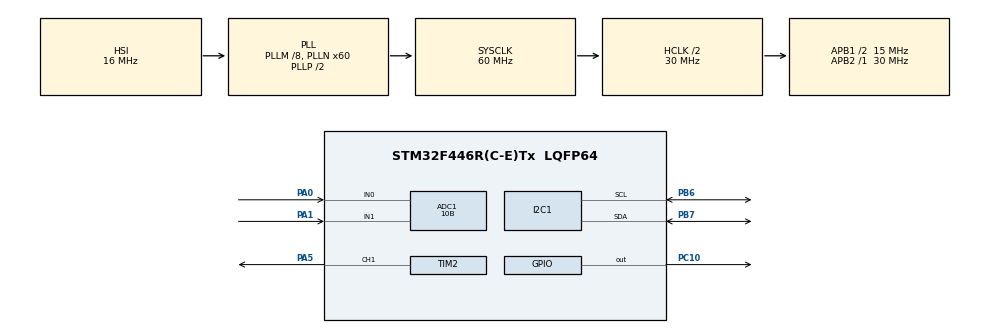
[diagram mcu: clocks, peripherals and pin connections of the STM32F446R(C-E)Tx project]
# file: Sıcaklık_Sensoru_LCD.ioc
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ADC1.Channel-0\#ChannelRegularConversion=ADC_CHANNEL_0
ADC1.Channel-1\#ChannelRegularConversion=ADC_CHANNEL_1
ADC1.ContinuousConvMode=ENABLE
ADC1.NbrOfConversion=2
ADC1.NbrOfConversionFlag=1
ADC1.Rank-0\#ChannelRegularConversion=1
ADC1.Rank-1\#ChannelRegularConversion=2
ADC1.Resolution=ADC_RESOLUTION_10B
ADC1.SamplingTime-0\#ChannelRegularConversion=ADC_SAMPLETIME_144CYCLES
ADC1.SamplingTime-1\#ChannelRegularConversion=ADC_SAMPLETIME_144CYCLES
ADC1.ScanConvMode=ENABLE
ADC1.master=1
Mcu.Family=STM32F4
Mcu.Name=STM32F446R(C-E)Tx
Mcu.Package=LQFP64
NVIC.ADC_IRQn=true\:0\:0\:false\:false\:true\:true\:true
NVIC.PriorityGroup=NVIC_PRIORITYGROUP_0
NVIC.TIM3_IRQn=true\:0\:0\:false\:false\:true\:true\:true
PA0-WKUP.Signal=ADCx_IN0
PA1.Signal=ADCx_IN1
PA5.Signal=S_TIM2_CH1_ETR
PB6.Mode=I2C
PB6.Signal=I2C1_SCL
PB7.Mode=I2C
PB7.Signal=I2C1_SDA
PC10.Signal=GPIO_Output
PH0-OSC_IN.Mode=HSE-External-Oscillator
PH0-OSC_IN.Signal=RCC_OSC_IN
PH1-OSC_OUT.Mode=HSE-External-Oscillator
PH1-OSC_OUT.Signal=RCC_OSC_OUT
ProjectManager.HeapSize=0x200
ProjectManager.StackSize=0x400
ProjectManager.TargetToolchain=STM32CubeIDE
RCC.48MHZClocksFreq_Value=84000000
RCC.AHBCLKDivider=RCC_SYSCLK_DIV2
RCC.AHBFreq_Value=30000000
RCC.APB1CLKDivider=RCC_HCLK_DIV2
RCC.APB1Freq_Value=15000000
RCC.APB1TimFreq_Value=30000000
RCC.APB2Freq_Value=30000000
RCC.APB2TimFreq_Value=30000000
RCC.CortexFreq_Value=30000000
RCC.FLatency-AdvancedSettings=FLASH_LATENCY_0
RCC.HCLKFreq_Value=30000000
RCC.HSE_VALUE=8000000
RCC.HSI_VALUE=16000000
RCC.PLLM=8
RCC.PLLN=60
RCC.SYSCLKFreq_VALUE=60000000
RCC.SYSCLKSource=RCC_SYSCLKSOURCE_PLLCLK
RCC.USBFreq_Value=60000000
RCC.VCOOutputFreq_Value=120000000
SH.ADCx_IN0.0=ADC1_IN0,IN0
SH.ADCx_IN1.0=ADC1_IN1,IN1
SH.S_TIM2_CH1_ETR.0=TIM2_CH1,PWM Generation1 CH1
TIM2.Channel-PWM\ Generation1\ CH1=TIM_CHANNEL_1
TIM2.Period=1000-1
TIM2.Prescaler=600-1
TIM3.Period=5000-1
TIM3.Prescaler=6000-1
VP_TIM2_VS_ClockSourceINT.Mode=Internal
VP_TIM3_VS_ClockSourceINT.Mode=Internal
board=NUCLEO-F446RE

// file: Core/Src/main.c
/* USER CODE BEGIN Header */
/**
  ******************************************************************************
  * @file           : main.c
  * @brief          : Main program body
  ******************************************************************************
  * @attention
  *
  * <h2><center>&copy; Copyright (c) 2021 STMicroelectronics.
  * All rights reserved.</center></h2>
  *
  * This software component is licensed by ST under BSD 3-Clause license,
  * the "License"; You may not use this file except in compliance with the
  * License. You may obtain a copy of the License at:
  *                        opensource.org/licenses/BSD-3-Clause
  *
  ******************************************************************************
  */
/* USER CODE END Header */
#include "main.h"

/* USER CODE BEGIN Includes */
#include <stdlib.h>
#include "string.h"
uint32_t duty=20;
uint32_t adcvalue[2];
uint32_t temp[2];
uint8_t count = 0;
uint8_t data1[12];
uint8_t data2[12];
uint8_t control = 0;
uint16_t sicaklikfarki = 0;
uint16_t sayac = 0;
/* USER CODE END Includes */

ADC_HandleTypeDef hadc1;

I2C_HandleTypeDef hi2c1;

TIM_HandleTypeDef htim2;
TIM_HandleTypeDef htim3;

void SystemClock_Config(void);
static void MX_GPIO_Init(void);
static void MX_TIM2_Init(void);
static void MX_ADC1_Init(void);
static void MX_I2C1_Init(void);
static void MX_TIM3_Init(void);

/* USER CODE BEGIN 0 */
void HAL_ADC_ConvCpltCallback(ADC_HandleTypeDef* hadc)
{

	/**************** ADC KESMESİ **************/

	// 1. Bu kısımda ilk olarak if döngüsü ile ADC çevriminin tamamlanıp tamamlanmadığını kontrol ediyoruz
	if(__HAL_ADC_GET_FLAG(&hadc1, ADC_FLAG_EOC) != RESET)
			{

		// 2. ADC1 üzerinden 2 kanaldan okunan 2 sensör adcvalue değişkeni içinde tutuluyor.
			// 3. Aynı ADC üzerinden okuma yapıldığı için değerler sırayla okunmaktadır.
			// 4. Tanımladığımız count değişkeni ilk olarak 0 değerindedir.
			// 5. Her ADC kanalı okunduğunda count değeri 1 artmaktadır ve adcvalue dizisinde okunan kanalı belirtmektedir.
			// 6. Biz iki kanal okuduğumuz için count değer 2 kez artar ve 2 değerine ulaştığında tekrar sıfırlanarak Kanal 1 değerinin okunmasını sağlamaktadır.
				adcvalue[count] = HAL_ADC_GetValue(&hadc1);
				count++;
				if(count == 2)
					count = 0;
			}

	// 7. ADC okuma işlemleri tamamlandıktan sonra sıcaklık değerleri temp dizisinde saklanmaktadır.
		// 8. ADC değerini bizim gerilimimiz olan 3.3V değeri yani 330 ile çarpıyoruz ve bunu ADC çözünürlüğüne böldüğümüzde bize sıcaklık değerini veriyor.
		temp[0]=(adcvalue[0]*330)/1024;
		temp[1]=(adcvalue[1]*330)/1024;
		sicaklikfarki = abs(temp[0] - temp[1]);
		// 9. Eğer sıcaklık farkı 5 dereceden fazlaysa servo motor atanan duty değeri ile çalışıyor ve pencere açılıyor. Ayrıca röle tetiklenerek fan çalıştırılıyor.

		if( (sicaklikfarki>= 5) && control == 0)
		{
			// Fan 10 saniye çalışıcak bu yüzden sıcaklık farkı 5'i geçtiğinde timer başlıyor.
//			HAL_TIM_Base_Start_IT(&htim3);
//			sayac = __HAL_TIM_GetCounter(&htim5);
			// Servo motor döndürülüyor
			htim2.Instance->CCR1 = 100;
			// Röle aktif ediliyor
			HAL_GPIO_WritePin(GPIOC, GPIO_PIN_10, GPIO_PIN_SET);
			// Bu döngünün tekrarlanmaması için bir kontrol değişkeni set ediliyor.
			control = 1;

		}
		// 10. Son olarak ölçülen değerler sprintf komutu ile data1 ve data2 içine LCD üzerine yazdırılmak için gömülüyor.
		sprintf(data1,"Sicaklik %d",temp[0]);
		sprintf(data2,"Sicaklik %d",temp[1]);

}
/* USER CODE END 0 */

int main(void)
{

  /* MCU Configuration--------------------------------------------------------*/

  /* Reset of all peripherals, Initializes the Flash interface and the Systick. */
  HAL_Init();

  /* Configure the system clock */
  SystemClock_Config();

  /* Initialize all configured peripherals */
  MX_GPIO_Init();
  MX_TIM2_Init();
  MX_ADC1_Init();
  MX_I2C1_Init();
  MX_TIM3_Init();
  /* USER CODE BEGIN 2 */
  HAL_ADC_Start_IT(&hadc1);
  HAL_TIM_PWM_Start(&htim2, TIM_CHANNEL_1);
  lcd_init();
  HAL_GPIO_WritePin(GPIOC, GPIO_PIN_10, GPIO_PIN_RESET);
  /* USER CODE END 2 */

  /* Infinite loop */
  while (1)
  {

    /* USER CODE BEGIN 3 */

	  // Döngü içinde 2 satırada bilgi yazdığımız için her yeni çevrimde ilk olarak kursör en başa getiriliyor
	  lcd_put_cur(0, 0);
	  HAL_Delay(50);
	  // data1 ve data2 içine gömdüğümüz sıcaklık değerleri lcd_send_string ile lcd üzerine basılıyor
	  lcd_send_string(data1);
	  HAL_Delay(50);
	  // data2 yani 2.sıcaklık sensörü 2. Lcd satırında yazması için kursör 2. satıra taşınıyor.
	  lcd_put_cur(1, 0);
	  HAL_Delay(50);
	  // data2 değeri lcd üzerine basılıyor.
	  lcd_send_string(data2);
	  HAL_Delay(50);
  }
  /* USER CODE END 3 */
}

void SystemClock_Config(void)
{
  RCC_OscInitTypeDef RCC_OscInitStruct = {0};
  RCC_ClkInitTypeDef RCC_ClkInitStruct = {0};

  /** Configure the main internal regulator output voltage
  */
  __HAL_RCC_PWR_CLK_ENABLE();
  __HAL_PWR_VOLTAGESCALING_CONFIG(PWR_REGULATOR_VOLTAGE_SCALE3);
  /** Initializes the RCC Oscillators according to the specified parameters
  * in the RCC_OscInitTypeDef structure.
  */
  RCC_OscInitStruct.OscillatorType = RCC_OSCILLATORTYPE_HSI;
  RCC_OscInitStruct.HSIState = RCC_HSI_ON;
  RCC_OscInitStruct.HSICalibrationValue = RCC_HSICALIBRATION_DEFAULT;
  RCC_OscInitStruct.PLL.PLLState = RCC_PLL_ON;
  RCC_OscInitStruct.PLL.PLLSource = RCC_PLLSOURCE_HSI;
  RCC_OscInitStruct.PLL.PLLM = 8;
  RCC_OscInitStruct.PLL.PLLN = 60;
  RCC_OscInitStruct.PLL.PLLP = RCC_PLLP_DIV2;
  RCC_OscInitStruct.PLL.PLLQ = 2;
  RCC_OscInitStruct.PLL.PLLR = 2;
  if (HAL_RCC_OscConfig(&RCC_OscInitStruct) != HAL_OK)
  {
    Error_Handler();
  }
  /** Initializes the CPU, AHB and APB buses clocks
  */
  RCC_ClkInitStruct.ClockType = RCC_CLOCKTYPE_HCLK|RCC_CLOCKTYPE_SYSCLK
                              |RCC_CLOCKTYPE_PCLK1|RCC_CLOCKTYPE_PCLK2;
  RCC_ClkInitStruct.SYSCLKSource = RCC_SYSCLKSOURCE_PLLCLK;
  RCC_ClkInitStruct.AHBCLKDivider = RCC_SYSCLK_DIV2;
  RCC_ClkInitStruct.APB1CLKDivider = RCC_HCLK_DIV2;
  RCC_ClkInitStruct.APB2CLKDivider = RCC_HCLK_DIV1;

  if (HAL_RCC_ClockConfig(&RCC_ClkInitStruct, FLASH_LATENCY_0) != HAL_OK)
  {
    Error_Handler();
  }
}

static void MX_ADC1_Init(void)
{

  ADC_ChannelConfTypeDef sConfig = {0};

  /** Configure the global features of the ADC (Clock, Resolution, Data Alignment and number of conversion)
  */
  hadc1.Instance = ADC1;
  hadc1.Init.ClockPrescaler = ADC_CLOCK_SYNC_PCLK_DIV2;
  hadc1.Init.Resolution = ADC_RESOLUTION_10B;
  hadc1.Init.ScanConvMode = ENABLE;
  hadc1.Init.ContinuousConvMode = ENABLE;
  hadc1.Init.DiscontinuousConvMode = DISABLE;
  hadc1.Init.ExternalTrigConvEdge = ADC_EXTERNALTRIGCONVEDGE_NONE;
  hadc1.Init.ExternalTrigConv = ADC_SOFTWARE_START;
  hadc1.Init.DataAlign = ADC_DATAALIGN_RIGHT;
  hadc1.Init.NbrOfConversion = 2;
  hadc1.Init.DMAContinuousRequests = DISABLE;
  hadc1.Init.EOCSelection = ADC_EOC_SINGLE_CONV;
  if (HAL_ADC_Init(&hadc1) != HAL_OK)
  {
    Error_Handler();
  }
  /** Configure for the selected ADC regular channel its corresponding rank in the sequencer and its sample time.
  */
  sConfig.Channel = ADC_CHANNEL_0;
  sConfig.Rank = 1;
  sConfig.SamplingTime = ADC_SAMPLETIME_144CYCLES;
  if (HAL_ADC_ConfigChannel(&hadc1, &sConfig) != HAL_OK)
  {
    Error_Handler();
  }
  /** Configure for the selected ADC regular channel its corresponding rank in the sequencer and its sample time.
  */
  sConfig.Channel = ADC_CHANNEL_1;
  sConfig.Rank = 2;
  if (HAL_ADC_ConfigChannel(&hadc1, &sConfig) != HAL_OK)
  {
    Error_Handler();
  }

}

static void MX_I2C1_Init(void)
{

  hi2c1.Instance = I2C1;
  hi2c1.Init.ClockSpeed = 100000;
  hi2c1.Init.DutyCycle = I2C_DUTYCYCLE_2;
  hi2c1.Init.OwnAddress1 = 0;
  hi2c1.Init.AddressingMode = I2C_ADDRESSINGMODE_7BIT;
  hi2c1.Init.DualAddressMode = I2C_DUALADDRESS_DISABLE;
  hi2c1.Init.OwnAddress2 = 0;
  hi2c1.Init.GeneralCallMode = I2C_GENERALCALL_DISABLE;
  hi2c1.Init.NoStretchMode = I2C_NOSTRETCH_DISABLE;
  if (HAL_I2C_Init(&hi2c1) != HAL_OK)
  {
    Error_Handler();
  }

}

static void MX_TIM2_Init(void)
{

  TIM_ClockConfigTypeDef sClockSourceConfig = {0};
  TIM_MasterConfigTypeDef sMasterConfig = {0};
  TIM_OC_InitTypeDef sConfigOC = {0};

  htim2.Instance = TIM2;
  htim2.Init.Prescaler = 600-1;
  htim2.Init.CounterMode = TIM_COUNTERMODE_UP;
  htim2.Init.Period = 1000-1;
  htim2.Init.ClockDivision = TIM_CLOCKDIVISION_DIV1;
  htim2.Init.AutoReloadPreload = TIM_AUTORELOAD_PRELOAD_DISABLE;
  if (HAL_TIM_Base_Init(&htim2) != HAL_OK)
  {
    Error_Handler();
  }
  sClockSourceConfig.ClockSource = TIM_CLOCKSOURCE_INTERNAL;
  if (HAL_TIM_ConfigClockSource(&htim2, &sClockSourceConfig) != HAL_OK)
  {
    Error_Handler();
  }
  if (HAL_TIM_PWM_Init(&htim2) != HAL_OK)
  {
    Error_Handler();
  }
  sMasterConfig.MasterOutputTrigger = TIM_TRGO_RESET;
  sMasterConfig.MasterSlaveMode = TIM_MASTERSLAVEMODE_DISABLE;
  if (HAL_TIMEx_MasterConfigSynchronization(&htim2, &sMasterConfig) != HAL_OK)
  {
    Error_Handler();
  }
  sConfigOC.OCMode = TIM_OCMODE_PWM1;
  sConfigOC.Pulse = 0;
  sConfigOC.OCPolarity = TIM_OCPOLARITY_HIGH;
  sConfigOC.OCFastMode = TIM_OCFAST_DISABLE;
  if (HAL_TIM_PWM_ConfigChannel(&htim2, &sConfigOC, TIM_CHANNEL_1) != HAL_OK)
  {
    Error_Handler();
  }
  HAL_TIM_MspPostInit(&htim2);

}

static void MX_TIM3_Init(void)
{

  TIM_ClockConfigTypeDef sClockSourceConfig = {0};
  TIM_MasterConfigTypeDef sMasterConfig = {0};

  htim3.Instance = TIM3;
  htim3.Init.Prescaler = 6000-1;
  htim3.Init.CounterMode = TIM_COUNTERMODE_UP;
  htim3.Init.Period = 5000-1;
  htim3.Init.ClockDivision = TIM_CLOCKDIVISION_DIV1;
  htim3.Init.AutoReloadPreload = TIM_AUTORELOAD_PRELOAD_DISABLE;
  if (HAL_TIM_Base_Init(&htim3) != HAL_OK)
  {
    Error_Handler();
  }
  sClockSourceConfig.ClockSource = TIM_CLOCKSOURCE_INTERNAL;
  if (HAL_TIM_ConfigClockSource(&htim3, &sClockSourceConfig) != HAL_OK)
  {
    Error_Handler();
  }
  sMasterConfig.MasterOutputTrigger = TIM_TRGO_RESET;
  sMasterConfig.MasterSlaveMode = TIM_MASTERSLAVEMODE_DISABLE;
  if (HAL_TIMEx_MasterConfigSynchronization(&htim3, &sMasterConfig) != HAL_OK)
  {
    Error_Handler();
  }

}

static void MX_GPIO_Init(void)
{
  GPIO_InitTypeDef GPIO_InitStruct = {0};

  /* GPIO Ports Clock Enable */
  __HAL_RCC_GPIOH_CLK_ENABLE();
  __HAL_RCC_GPIOA_CLK_ENABLE();
  __HAL_RCC_GPIOC_CLK_ENABLE();
  __HAL_RCC_GPIOB_CLK_ENABLE();

  /*Configure GPIO pin Output Level */
  HAL_GPIO_WritePin(GPIOC, GPIO_PIN_10, GPIO_PIN_RESET);

  /*Configure GPIO pin : PC10 */
  GPIO_InitStruct.Pin = GPIO_PIN_10;
  GPIO_InitStruct.Mode = GPIO_MODE_OUTPUT_PP;
  GPIO_InitStruct.Pull = GPIO_NOPULL;
  GPIO_InitStruct.Speed = GPIO_SPEED_FREQ_LOW;
  HAL_GPIO_Init(GPIOC, &GPIO_InitStruct);

}

void Error_Handler(void)
{
}

/************************ (C) COPYRIGHT STMicroelectronics *****END OF FILE****/
